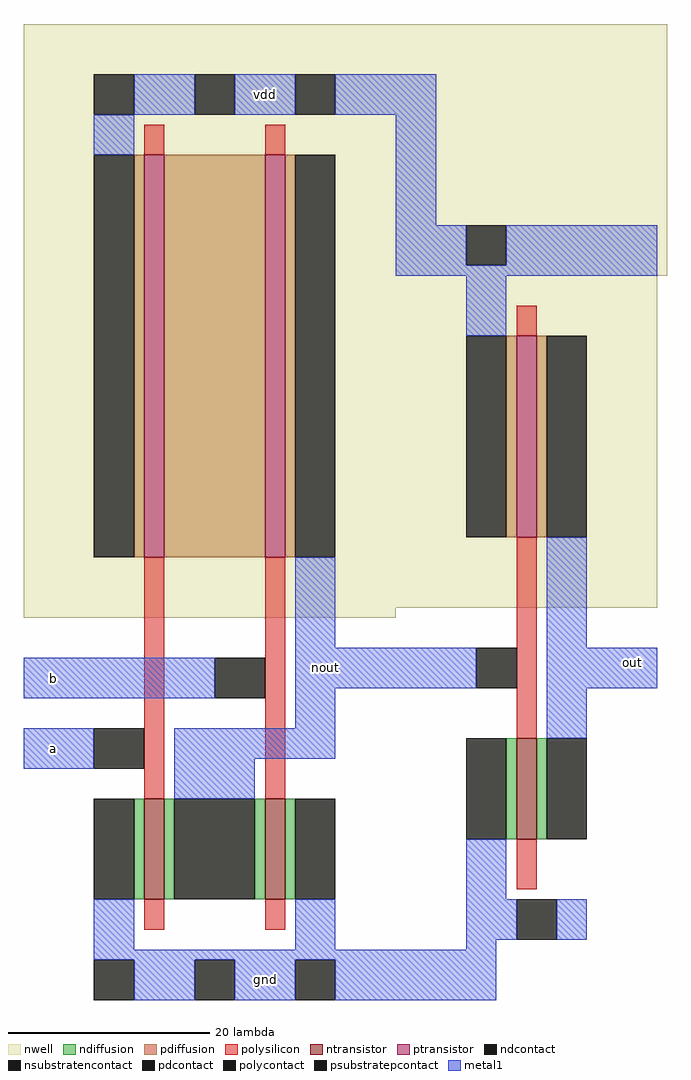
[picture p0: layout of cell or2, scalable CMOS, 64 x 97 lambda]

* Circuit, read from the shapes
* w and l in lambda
.subckt or2 a b gnd nout out vdd
M1 nout a gnd gnd nfet w=10 l=2
M2 gnd b nout gnd nfet w=10 l=2
M3 out nout gnd gnd nfet w=10 l=2
M4 n1 a vdd vdd pfet w=40 l=2
M5 nout b n1 vdd pfet w=40 l=2
M6 out nout vdd vdd pfet w=20 l=2
.ends

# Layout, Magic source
magic
tech scmos
<< nwell >>
rect -20 5 44 30
rect -20 -28 43 5
rect -20 -29 17 -28
<< ntransistor >>
rect -8 -57 -6 -47
rect 4 -57 6 -47
rect 29 -51 31 -41
<< ptransistor >>
rect -8 -23 -6 17
rect 4 -23 6 17
rect 29 -21 31 -1
<< ndiffusion >>
rect -9 -57 -8 -47
rect -6 -57 -5 -47
rect 3 -57 4 -47
rect 6 -57 7 -47
rect 28 -51 29 -41
rect 31 -51 32 -41
<< pdiffusion >>
rect -9 -23 -8 17
rect -6 -23 4 17
rect 6 -23 7 17
rect 28 -21 29 -1
rect 31 -21 32 -1
<< ndcontact >>
rect -13 -57 -9 -47
rect -5 -57 3 -47
rect 7 -57 11 -47
rect 24 -51 28 -41
rect 32 -51 36 -41
<< pdcontact >>
rect -13 -23 -9 17
rect 7 -23 11 17
rect 24 -21 28 -1
rect 32 -21 36 -1
<< psubstratepcontact >>
rect 29 -61 33 -57
rect -13 -67 -9 -63
rect -3 -67 1 -63
rect 7 -67 11 -63
<< nsubstratencontact >>
rect -13 21 -9 25
rect -3 21 1 25
rect 7 21 11 25
rect 24 6 28 10
<< polysilicon >>
rect -8 17 -6 20
rect 4 17 6 20
rect 29 -1 31 2
rect -8 -47 -6 -23
rect 4 -47 6 -23
rect 29 -41 31 -21
rect 29 -56 31 -51
rect -8 -60 -6 -57
rect 4 -60 6 -57
<< polycontact >>
rect -13 -44 -8 -40
rect -1 -37 4 -33
rect 25 -36 29 -32
<< metal1 >>
rect -9 21 -3 25
rect 1 21 7 25
rect 11 21 21 25
rect -13 17 -9 21
rect 17 10 21 21
rect 17 6 24 10
rect 28 6 43 10
rect 17 5 43 6
rect 24 -1 28 5
rect 7 -32 11 -23
rect 32 -32 36 -21
rect -20 -37 -1 -33
rect 7 -36 25 -32
rect 32 -36 43 -32
rect 7 -40 11 -36
rect -20 -44 -13 -40
rect -5 -43 11 -40
rect 32 -41 36 -36
rect -5 -47 3 -43
rect -13 -62 -9 -57
rect 7 -62 11 -57
rect 24 -57 28 -51
rect 24 -61 29 -57
rect 33 -61 36 -57
rect 24 -62 27 -61
rect -13 -63 27 -62
rect -9 -67 -3 -63
rect 1 -67 7 -63
rect 11 -67 27 -63
<< labels >>
rlabel metal1 -18 -43 -16 -41 3 a
rlabel metal1 -18 -36 -16 -34 3 b
rlabel metal1 38 -34 43 -33 7 out
rlabel metal1 3 -66 5 -64 1 gnd
rlabel metal1 3 22 5 24 1 vdd
rlabel metal1 9 -35 11 -33 1 nout
<< end >>
